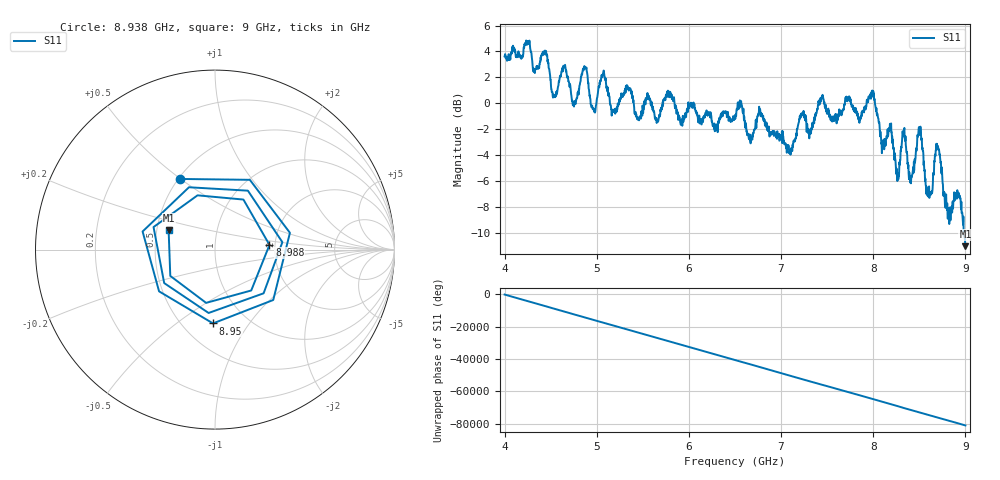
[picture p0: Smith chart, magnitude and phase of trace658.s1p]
! Created with skrf 1.8.0 (http://scikit-rf.org).
# Hz S RI R 50.0
!freq ReS11 ImS11
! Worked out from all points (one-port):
!   1601 points, 4 GHz to 9 GHz, reference 50 ohm
!   lowest |S11| = -11.1 dB at 9 GHz (marker M1), VSWR 1.78, Z = 28.9 + j6.78 ohm
!   |S11| at or under -10 dB: 8.985091 GHz to end of sweep
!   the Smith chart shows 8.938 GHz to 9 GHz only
!   S11 on the Smith chart (normalised r, x): 8.938 GHz: 0.51, +0.50; 8.95 GHz: 0.70, -0.69; 8.988 GHz: 1.87, +0.11; 9 GHz: 0.58, +0.14
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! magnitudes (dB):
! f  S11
! 4 GHz  3.6
! 4.438 GHz  4.1
! 4.538 GHz  0.5
! 4.625 GHz  2.7
! 4.753 GHz  -0.3
! 4.869 GHz  2.7
! 4.959 GHz  -0.4
! 5.066 GHz  2.2
! 5.178 GHz  -0.5
! 5.25 GHz  0.1
! 5.875 GHz  -0.7
! 6.5 GHz  -0.9
! 7.125 GHz  -3.2
! 7.431 GHz  0.2
! 7.75 GHz  0.1
! 7.991 GHz  1.0
! 8.256 GHz  -5.5
! 8.328 GHz  -2.5
! 8.375 GHz  -4.6
! 8.419 GHz  -5.7
! 8.503 GHz  -2.1
! 8.6 GHz  -6.8
! 8.697 GHz  -3.4
! 8.806 GHz  -8.3
! 8.938 GHz  -7.1
! 8.95 GHz  -7.7
! 8.988 GHz  -10.3
! 9 GHz  -11.1
